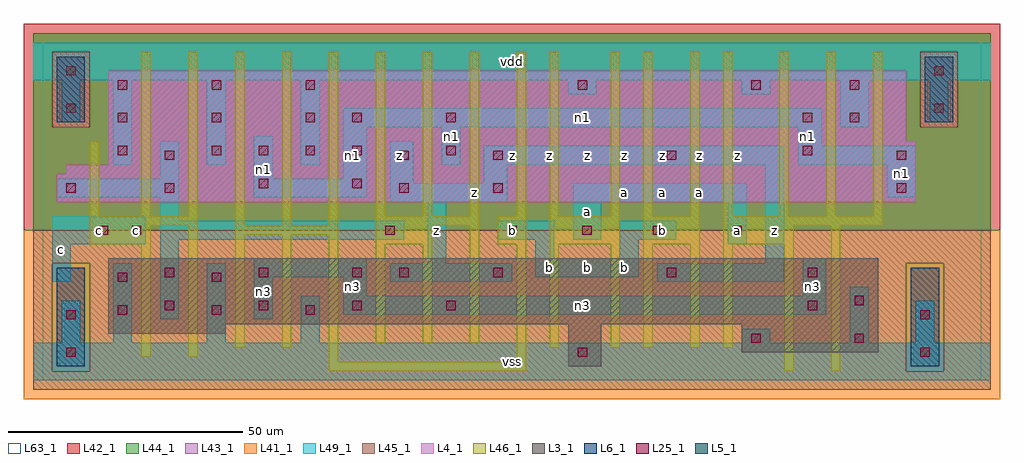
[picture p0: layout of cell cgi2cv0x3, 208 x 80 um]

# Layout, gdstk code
import gdstk
lib = gdstk.Library(unit=1e-6, precision=1e-09)
def R(c, l, rs):  # rectangles x0, y0, x1, y1
    for r in rs: c.add(gdstk.rectangle(r[:2], r[2:], *l))
def A(c, l, x, y, w, h, nx, ny, dx, dy):  # array of equal rectangles
    R(c, l, [(x+i*dx, y+j*dy, x+i*dx+w, y+j*dy+h) for i in range(nx) for j in range(ny)])
L3_1 = (3, 1)
L4_1 = (4, 1)
L5_1 = (5, 1)
L6_1 = (6, 1)
L25_1 = (25, 1)
L41_1 = (41, 1)
L42_1 = (42, 1)
L43_1 = (43, 1)
L44_1 = (44, 1)
L45_1 = (45, 1)
L46_1 = (46, 1)
L49_1 = (49, 1)
L63_1 = (63, 1)

cgi2cv0x3 = lib.new_cell('cgi2cv0x3')
R(cgi2cv0x3, L3_1, [(112,3,119,12), (149,6,178,12), (14,10,39,12), (14,12,178,26)])
R(cgi2cv0x3, L4_1, [(3,38,186,44), (5,44,186,46), (14,46,186,51), (14,51,184,66)])
R(cgi2cv0x3, L5_1, [(3,55,9,69), (188,55,194,69)])
R(cgi2cv0x3, L6_1, [(3,3,9,24), (3,3,9,24), (185,3,191,24), (185,3,191,24)])
A(cgi2cv0x3, L25_1, 16, 14, 2, 2, 3, 2, 20, 41)
A(cgi2cv0x3, L25_1, 26, 15, 2, 2, 4, 1, 20, 0)
A(cgi2cv0x3, L25_1, 26, 22, 2, 2, 3, 1, 20, 0)
A(cgi2cv0x3, L25_1, 36, 48, 2, 2, 4, 1, 10, 0)
A(cgi2cv0x3, L25_1, 16, 62, 2, 2, 3, 1, 20, 0)
R(cgi2cv0x3, L25_1, [(5,5,7,7), (114,5,116,7), (187,5,189,7), (151,8,153,10), (173,8,175,10), (5,13,7,15), (187,13,189,15), (163,15,165,17), (173,16,175,18), (16,21,18,23), (36,21,38,23), (76,22,78,24), (96,22,98,24), (133,22,135,24), (163,22,165,24), (12,31,14,33), (19,31,21,33), (73,31,75,33), (99,31,101,33), (115,31,117,33), (130,31,132,33), (147,31,149,33), (5,40,7,42), (26,40,28,42), (76,40,78,42), (96,40,98,42), (182,40,184,42), (46,41,48,43), (66,41,68,43), (26,47,28,49), (76,47,78,49), (96,47,98,49), (133,47,135,49), (182,47,184,49), (16,48,18,50), (86,48,88,50), (162,48,164,50), (66,55,68,57), (86,55,88,57), (162,55,164,57), (172,55,174,57), (5,57,7,59), (190,57,192,59), (114,62,116,64), (151,62,153,64), (172,62,174,64), (5,65,7,67), (190,65,192,67)])
R(cgi2cv0x3, L41_1, [(-4,-4,204,32)])
R(cgi2cv0x3, L42_1, [(-4,32,204,76)])
R(cgi2cv0x3, L43_1, [(3,3,9,24), (112,3,119,12), (185,3,191,24), (149,6,178,12), (14,10,39,12), (14,12,178,26), (3,38,186,44), (5,44,186,46), (14,46,186,51), (14,51,184,66), (3,55,9,69), (188,55,194,69)])
R(cgi2cv0x3, L44_1, [(2,2,10,25), (184,2,192,25), (-2,32,202,54), (-2,54,2,70), (10,54,187,70), (195,54,202,70), (-2,70,202,74)])
R(cgi2cv0x3, L45_1, [(-2,-2,202,2), (-2,2,2,25), (10,2,184,25), (192,2,202,25), (-2,25,202,32), (2,54,10,70), (187,54,195,70)])
A(cgi2cv0x3, L46_1, 41, 33, 2, 37, 3, 1, 10, 0)
A(cgi2cv0x3, L46_1, 71, 35, 2, 35, 4, 1, 10, 0)
A(cgi2cv0x3, L46_1, 157, 35, 2, 35, 3, 1, 10, 0)
R(cgi2cv0x3, L46_1, [(61,2,103,4), (158,2,160,29), (168,2,170,33), (61,4,63,31), (101,4,103,29), (21,5,23,29), (31,5,33,33), (41,7,43,31), (51,7,53,31), (108,7,110,29), (121,7,123,29), (128,7,130,29), (138,7,140,29), (145,7,147,29), (71,8,73,29), (81,8,83,29), (91,8,93,33), (10,29,23,33), (71,29,83,33), (97,29,103,35), (108,29,123,35), (128,29,140,35), (145,29,160,33), (41,31,63,33), (10,33,33,35), (71,33,93,35), (145,33,179,35), (10,35,12,51), (21,35,23,70), (31,35,33,70), (108,35,110,70), (121,35,123,70), (128,35,130,70), (138,35,140,70), (145,35,147,70)])
A(cgi2cv0x3, L49_1, 15, 46, 4, 18, 3, 1, 20, 0)
R(cgi2cv0x3, L49_1, [(-2,0,202,8), (4,8,8,17), (15,8,19,25), (35,8,39,25), (55,8,59,18), (149,8,155,11), (172,8,176,20), (186,8,190,17), (25,13,29,30), (45,13,49,22), (64,14,167,18), (64,18,69,22), (162,18,167,26), (2,21,6,29), (74,21,100,25), (131,21,158,25), (45,22,69,26), (105,22,127,26), (82,25,86,38), (154,25,158,46), (105,26,109,30), (123,26,127,30), (2,29,22,35), (146,29,150,38), (25,30,77,34), (97,30,109,34), (113,30,119,38), (123,30,135,34), (25,34,29,39), (74,38,99,42), (113,38,150,42), (3,39,29,43), (45,39,69,43), (180,39,186,46), (74,42,79,51), (94,42,99,46), (25,43,29,51), (45,43,49,52), (64,43,69,54), (85,46,89,54), (94,46,158,50), (161,46,186,50), (161,50,166,54), (64,54,166,58), (170,54,176,64), (4,55,8,64), (189,55,193,64), (112,61,118,64), (149,61,155,64), (-2,64,202,72)])
R(cgi2cv0x3, L63_1, [(0,0,200,72)])
cgi2cv0x3.add(gdstk.Label('c', (12,32), layer=49, texttype=1))
cgi2cv0x3.add(gdstk.Label('c', (20,32), layer=49, texttype=1))
cgi2cv0x3.add(gdstk.Label('c', (4,28), layer=49, texttype=1))
cgi2cv0x3.add(gdstk.Label('n3', (66,20), layer=49, texttype=1))
cgi2cv0x3.add(gdstk.Label('n3', (47,19), layer=49, texttype=1))
cgi2cv0x3.add(gdstk.Label('n1', (47,45), layer=49, texttype=1))
cgi2cv0x3.add(gdstk.Label('z', (76,48), layer=49, texttype=1))
cgi2cv0x3.add(gdstk.Label('n1', (66,48), layer=49, texttype=1))
cgi2cv0x3.add(gdstk.Label('vss', (100,4), layer=49, texttype=1))
cgi2cv0x3.add(gdstk.Label('b', (108,24), layer=49, texttype=1))
cgi2cv0x3.add(gdstk.Label('b', (116,24), layer=49, texttype=1))
cgi2cv0x3.add(gdstk.Label('z', (84,32), layer=49, texttype=1))
cgi2cv0x3.add(gdstk.Label('b', (100,32), layer=49, texttype=1))
cgi2cv0x3.add(gdstk.Label('z', (92,40), layer=49, texttype=1))
cgi2cv0x3.add(gdstk.Label('a', (116,36), layer=49, texttype=1))
cgi2cv0x3.add(gdstk.Label('z', (116,48), layer=49, texttype=1))
cgi2cv0x3.add(gdstk.Label('z', (100,48), layer=49, texttype=1))
cgi2cv0x3.add(gdstk.Label('z', (108,48), layer=49, texttype=1))
cgi2cv0x3.add(gdstk.Label('n1', (87,52), layer=49, texttype=1))
cgi2cv0x3.add(gdstk.Label('vdd', (100,68), layer=49, texttype=1))
cgi2cv0x3.add(gdstk.Label('b', (124,24), layer=49, texttype=1))
cgi2cv0x3.add(gdstk.Label('a', (148,32), layer=49, texttype=1))
cgi2cv0x3.add(gdstk.Label('z', (156,32), layer=49, texttype=1))
cgi2cv0x3.add(gdstk.Label('b', (132,32), layer=49, texttype=1))
cgi2cv0x3.add(gdstk.Label('a', (124,40), layer=49, texttype=1))
cgi2cv0x3.add(gdstk.Label('a', (132,40), layer=49, texttype=1))
cgi2cv0x3.add(gdstk.Label('a', (140,40), layer=49, texttype=1))
cgi2cv0x3.add(gdstk.Label('z', (124,48), layer=49, texttype=1))
cgi2cv0x3.add(gdstk.Label('z', (140,48), layer=49, texttype=1))
cgi2cv0x3.add(gdstk.Label('z', (148,48), layer=49, texttype=1))
cgi2cv0x3.add(gdstk.Label('z', (132,48), layer=49, texttype=1))
cgi2cv0x3.add(gdstk.Label('n3', (164,20), layer=49, texttype=1))
cgi2cv0x3.add(gdstk.Label('n3', (115,16), layer=49, texttype=1))
cgi2cv0x3.add(gdstk.Label('n1', (183,44), layer=49, texttype=1))
cgi2cv0x3.add(gdstk.Label('n1', (163,52), layer=49, texttype=1))
cgi2cv0x3.add(gdstk.Label('n1', (115,56), layer=49, texttype=1))

lib.write_gds('cgi2cv0x3.gds')
